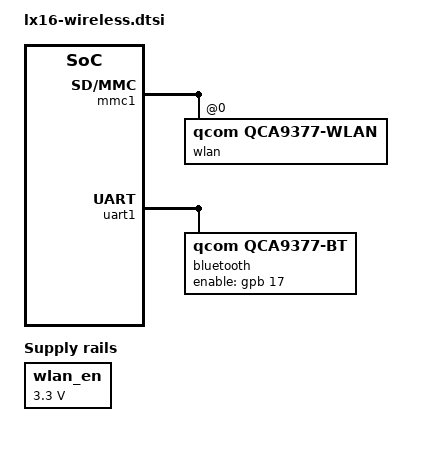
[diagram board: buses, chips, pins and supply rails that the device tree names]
/* assumes that lx16-common is already included */

/ {
	wlan_en: wlan_en_regulator {
		compatible = "regulator-fixed";
		pinctrl-names = "default";
//		pinctrl-0 = <&wlan_pins>;
		regulator-name = "wlan-en-regulator";
		regulator-min-microvolt = <3300000>;
		regulator-max-microvolt = <3300000>;

//		gpio = <&gb 12 GPIO_ACTIVE_HIGH>;

		startup-delay-us = <70000>;
		enable-active-high;
	};
};

&mmc1 {
//	vmmc-supply = <&wlan_en>;

	wlan: wlan@0 {
#if 1	// could allow CONFIG_LX16_REDBEAN for different Wireless clients (RedBean vs. ESP WROOM)
		compatible = "qcom,qca9377-wlan";	// FIXME
#endif
		reg = <0>;
//		interrupt-parent = <&gpio5>;
//		interrupts = <11 IRQ_TYPE_LEVEL_HIGH>;	/* GPIO_139 */
//		ref-clock-frequency = <26000000>;
	};
};

&uart1 {
//	uart-has-rtscts;

	bluetooth: bluetooth {
#if 1
		compatible = "qcom,qca9377-bt";
#endif
		enable-gpios = <&gpb 17 GPIO_ACTIVE_HIGH>;
		max-speed = <200000>;
	//	clocks = <&wifi32k>;
	//	vdd-supply = <&bt_en>;
	};
};

